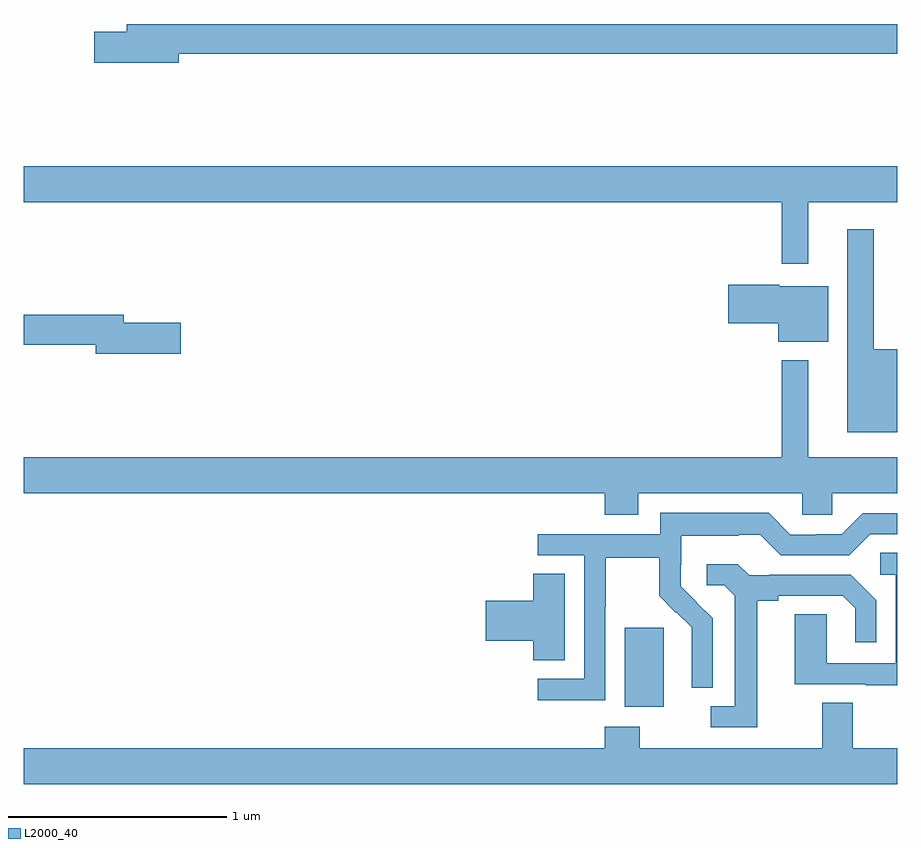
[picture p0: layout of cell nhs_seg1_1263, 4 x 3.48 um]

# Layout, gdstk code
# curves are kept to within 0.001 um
import gdstk
lib = gdstk.Library(unit=1e-6, precision=1e-09)
def R(c, l, rs):  # rectangles x0, y0, x1, y1
    for r in rs: c.add(gdstk.rectangle(r[:2], r[2:], *l))
def P(c, l, *ps):  # polygons
    for p in ps: c.add(gdstk.Polygon(p, *l))
L2000_40 = (2000, 40)

nhs_seg1_1263 = lib.new_cell('nhs_seg1_1263')
R(nhs_seg1_1263, L2000_40, [(181.751,558.746,181.93,559.107)])
P(nhs_seg1_1263, L2000_40, [(179.71,561.736),(183,561.736),(183,561.872),(179.471,561.872),(179.471,561.836),(179.322,561.836),(179.322,561.694),(179.71,561.694)],
  [(182.593,561.056),(183,561.056),(183,561.22),(179,561.22),(179,561.056),(182.472,561.056),(182.472,560.775),(182.593,560.775)],
  [(183,560.383),(182.893,560.383),(182.893,560.932),(182.771,560.932),(182.771,560.003),(183,560.003)],
  [(182.683,560.671),(182.46,560.671),(182.46,560.679),(182.226,560.679),(182.226,560.501),(182.456,560.501),(182.456,560.417),(182.683,560.417)],
  [(179.719,560.504),(179.458,560.504),(179.458,560.54),(179,560.54),(179,560.404),(179.33,560.404),(179.33,560.362),(179.719,560.362)],
  [(181.813,559.724),(182.565,559.724),(182.565,559.626),(182.703,559.626),(182.703,559.724),(183,559.724),(183,559.888),(182.593,559.888),(182.593,560.332),(182.472,560.332),(182.472,559.888),(179,559.888),(179,559.724),(181.661,559.724),(181.661,559.625),(181.813,559.625)],
  [(181.662,559.204),(181.665,559.204),(181.665,559.428),(181.909,559.428),(181.909,559.253),(181.986,559.176),(181.989,559.179),(182.06,559.109),(182.06,558.986),(182.058,558.986),(182.058,558.832),(182.154,558.832),(182.154,559.15),(182.008,559.298),(182.008,559.395),(182.01,559.395),(182.01,559.529),(182.273,559.529),(182.273,559.533),(182.373,559.533),(182.466,559.44),(182.781,559.44),(182.877,559.536),(183,559.536),(183,559.632),(182.841,559.632),(182.745,559.536),(182.627,559.536),(182.627,559.533),(182.511,559.533),(182.411,559.633),(181.914,559.633),(181.914,559.536),(181.353,559.536),(181.353,559.44),(181.566,559.44),(181.566,558.873),(181.353,558.873),(181.353,558.775),(181.662,558.775)],
  [(183,559.451),(182.922,559.451),(182.922,559.35),(182.994,559.35),(182.994,558.945),(182.676,558.945),(182.676,559.169),(182.531,559.169),(182.531,558.849),(182.855,558.849),(182.855,558.845),(183,558.845)],
  [(182.359,559.232),(182.455,559.232),(182.455,559.254),(182.75,559.254),(182.807,559.197),(182.807,559.041),(182.904,559.041),(182.904,559.234),(182.788,559.35),(182.416,559.35),(182.416,559.347),(182.322,559.347),(182.27,559.399),(182.127,559.399),(182.127,559.302),(182.208,559.302),(182.255,559.255),(182.255,558.747),(182.145,558.747),(182.145,558.651),(182.359,558.651)],
  [(181.477,559.355),(181.334,559.355),(181.334,559.232),(181.116,559.232),(181.116,559.049),(181.334,559.049),(181.334,558.958),(181.477,558.958)],
  [(183,558.556),(182.797,558.556),(182.797,558.764),(182.657,558.764),(182.657,558.556),(181.821,558.556),(181.821,558.655),(181.661,558.655),(181.661,558.556),(179,558.556),(179,558.392),(183,558.392)])

lib.write_gds('nhs_seg1_1263.gds')
